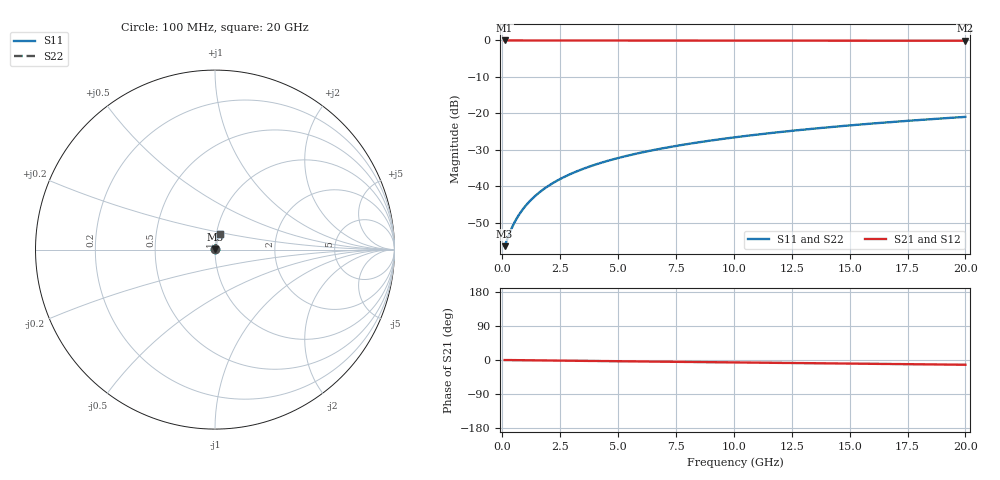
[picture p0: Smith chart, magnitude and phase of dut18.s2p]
! Touchstone file exported from HFSS 2026.1.0
!  File:  C:/ffzhzh/LocalFiles/Ansys_Project_Files/temp_val_TMRDL_18_1782903001_13352.aedt
!  Generated:  06:51:13 PM Jul  1, 2026
!  Design:  TMRDL
!  Project:  temp_val_TMRDL_18_1782903001_13352
! Variables:
!  h_bsmrdl = 2um
!  h_ox = 20um
!  h_rdl = 5um
!  h_sub = 80um
!  h_tmrdl = 5.29um
!  h_tsv = 80um
!  h_via = 3um
!  l_bsmrdl = 300um
!  l_sub = 599.09um
!  l_tmrdl = 199.09um
!  m_sub = 200um
!  pitch = 20.5um
!  r_tsv = 6um
!  s_tmrdl = 10um
!  w_bsmrdl = 18um
!  w_sub = 500um
!  w_tmrdl = 10.3um
!  x_tsv_center1 = 204.24um
!  x_tsv_center2 = 522.24um
!  x_tsv_center3 = 731.63um
!  x_tsv_center4 = 1049.63um
!  x_tsv_center5 = 1259.02um
!  x_tsv_center6 = 1577.02um
# GHz S MA R 50.000000
! Terminal data exported
! Port[1] = TM_RDL1_1_T1
! Port[2] = TM_RDL1_1_T2
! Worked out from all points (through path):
!   200 points, 100 MHz to 20 GHz, reference 50 ohm
!   highest |S21| = -0.01 dB at 100 MHz (marker M1); lowest = -0.1 dB at 20 GHz (marker M2)
!   group delay of S21, straight-line fit = 1.74 ps
!   lowest |S11| = -56.5 dB at 100 MHz (marker M3), VSWR 1.00, Z = 50.1 + j0.0571 ohm
!   |S11| at or under -10 dB: start of sweep to end of sweep
!   |S22| runs from -56.5 to -21.0 dB; largest |S21 - S12| = 3.1e-15
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0.1  0.001504 22.2  0.9986 -0.1  0.9986 -0.1  0.001504 22.2
! Gamma 0 0 0 0
! Port Impedance 50 0 50 0
0.3  0.002213 47.5  0.9985 -0.2  0.9985 -0.2  0.002213 47.5
0.4  0.002631 54.0  0.9985 -0.3  0.9985 -0.3  0.002631 54.0
0.6  0.003506 62.4  0.9984 -0.4  0.9984 -0.4  0.003506 62.4
0.7  0.003957 65.3  0.9984 -0.5  0.9984 -0.5  0.003957 65.3
0.9  0.00488 69.4  0.9983 -0.6  0.9983 -0.6  0.00488 69.4
1.1  0.005821 72.2  0.9983 -0.7  0.9983 -0.7  0.005821 72.2
1.3  0.006774 74.2  0.9982 -0.9  0.9982 -0.9  0.006774 74.2
1.7  0.008698 76.7  0.9981 -1.1  0.9981 -1.1  0.008698 76.7
2.2  0.01111 78.4  0.998 -1.4  0.998 -1.4  0.01111 78.4
2.8  0.014 79.4  0.9978 -1.8  0.9978 -1.8  0.014 79.4
3.5  0.01734 79.9  0.9975 -2.3  0.9975 -2.3  0.01734 79.9
4.2  0.02064 80.0  0.9972 -2.7  0.9972 -2.7  0.02064 80.0
5  0.02435 79.9  0.9968 -3.2  0.9968 -3.2  0.02435 79.9
5.9  0.02847 79.7  0.9964 -3.8  0.9964 -3.8  0.02847 79.7
6.8  0.03253 79.4  0.996 -4.4  0.996 -4.4  0.03253 79.4
8.3  0.03921 78.8  0.9952 -5.3  0.9952 -5.3  0.03921 78.8
10.1  0.04711 78.1  0.9944 -6.4  0.9944 -6.4  0.04711 78.1
11.7  0.05406 77.4  0.9937 -7.4  0.9937 -7.4  0.05406 77.4
13.4  0.06138 76.6  0.9929 -8.5  0.9929 -8.5  0.06138 76.6
16.7  0.07545 75.0  0.9913 -10.5  0.9913 -10.5  0.07545 75.0
20  0.08933 73.3  0.9896 -12.5  0.9896 -12.5  0.08933 73.3
